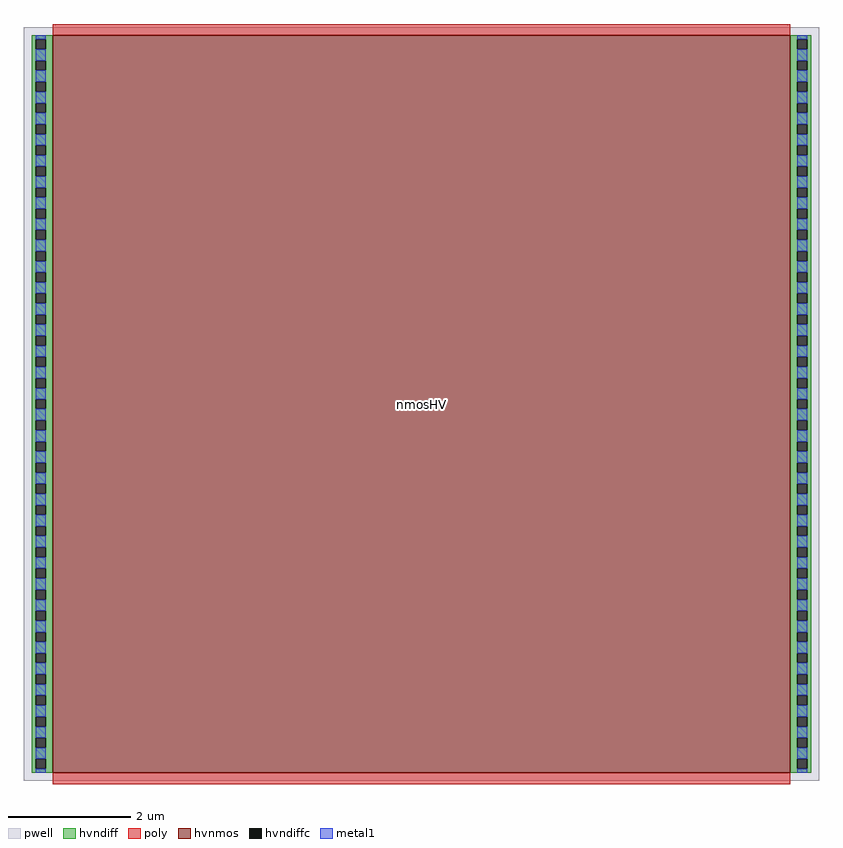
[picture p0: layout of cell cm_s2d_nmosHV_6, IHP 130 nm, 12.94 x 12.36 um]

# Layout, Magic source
magic
tech ihp-sg13cmos5l
magscale 1 2
<< pwell >>
rect -26 -26 2562 2426
<< hvnmos >>
rect 68 0 2468 2400
<< hvndiff >>
rect 0 2386 68 2400
rect 0 2354 14 2386
rect 46 2354 68 2386
rect 0 2317 68 2354
rect 0 2285 14 2317
rect 46 2285 68 2317
rect 0 2248 68 2285
rect 0 2216 14 2248
rect 46 2216 68 2248
rect 0 2179 68 2216
rect 0 2147 14 2179
rect 46 2147 68 2179
rect 0 2110 68 2147
rect 0 2078 14 2110
rect 46 2078 68 2110
rect 0 2041 68 2078
rect 0 2009 14 2041
rect 46 2009 68 2041
rect 0 1973 68 2009
rect 0 1941 14 1973
rect 46 1941 68 1973
rect 0 1904 68 1941
rect 0 1872 14 1904
rect 46 1872 68 1904
rect 0 1835 68 1872
rect 0 1803 14 1835
rect 46 1803 68 1835
rect 0 1766 68 1803
rect 0 1734 14 1766
rect 46 1734 68 1766
rect 0 1697 68 1734
rect 0 1665 14 1697
rect 46 1665 68 1697
rect 0 1628 68 1665
rect 0 1596 14 1628
rect 46 1596 68 1628
rect 0 1560 68 1596
rect 0 1528 14 1560
rect 46 1528 68 1560
rect 0 1491 68 1528
rect 0 1459 14 1491
rect 46 1459 68 1491
rect 0 1422 68 1459
rect 0 1390 14 1422
rect 46 1390 68 1422
rect 0 1353 68 1390
rect 0 1321 14 1353
rect 46 1321 68 1353
rect 0 1284 68 1321
rect 0 1252 14 1284
rect 46 1252 68 1284
rect 0 1216 68 1252
rect 0 1184 14 1216
rect 46 1184 68 1216
rect 0 1147 68 1184
rect 0 1115 14 1147
rect 46 1115 68 1147
rect 0 1078 68 1115
rect 0 1046 14 1078
rect 46 1046 68 1078
rect 0 1009 68 1046
rect 0 977 14 1009
rect 46 977 68 1009
rect 0 940 68 977
rect 0 908 14 940
rect 46 908 68 940
rect 0 871 68 908
rect 0 839 14 871
rect 46 839 68 871
rect 0 803 68 839
rect 0 771 14 803
rect 46 771 68 803
rect 0 734 68 771
rect 0 702 14 734
rect 46 702 68 734
rect 0 665 68 702
rect 0 633 14 665
rect 46 633 68 665
rect 0 596 68 633
rect 0 564 14 596
rect 46 564 68 596
rect 0 527 68 564
rect 0 495 14 527
rect 46 495 68 527
rect 0 458 68 495
rect 0 426 14 458
rect 46 426 68 458
rect 0 390 68 426
rect 0 358 14 390
rect 46 358 68 390
rect 0 321 68 358
rect 0 289 14 321
rect 46 289 68 321
rect 0 252 68 289
rect 0 220 14 252
rect 46 220 68 252
rect 0 183 68 220
rect 0 151 14 183
rect 46 151 68 183
rect 0 114 68 151
rect 0 82 14 114
rect 46 82 68 114
rect 0 46 68 82
rect 0 14 14 46
rect 46 14 68 46
rect 0 0 68 14
rect 2468 2386 2536 2400
rect 2468 2354 2490 2386
rect 2522 2354 2536 2386
rect 2468 2317 2536 2354
rect 2468 2285 2490 2317
rect 2522 2285 2536 2317
rect 2468 2248 2536 2285
rect 2468 2216 2490 2248
rect 2522 2216 2536 2248
rect 2468 2179 2536 2216
rect 2468 2147 2490 2179
rect 2522 2147 2536 2179
rect 2468 2110 2536 2147
rect 2468 2078 2490 2110
rect 2522 2078 2536 2110
rect 2468 2041 2536 2078
rect 2468 2009 2490 2041
rect 2522 2009 2536 2041
rect 2468 1973 2536 2009
rect 2468 1941 2490 1973
rect 2522 1941 2536 1973
rect 2468 1904 2536 1941
rect 2468 1872 2490 1904
rect 2522 1872 2536 1904
rect 2468 1835 2536 1872
rect 2468 1803 2490 1835
rect 2522 1803 2536 1835
rect 2468 1766 2536 1803
rect 2468 1734 2490 1766
rect 2522 1734 2536 1766
rect 2468 1697 2536 1734
rect 2468 1665 2490 1697
rect 2522 1665 2536 1697
rect 2468 1628 2536 1665
rect 2468 1596 2490 1628
rect 2522 1596 2536 1628
rect 2468 1560 2536 1596
rect 2468 1528 2490 1560
rect 2522 1528 2536 1560
rect 2468 1491 2536 1528
rect 2468 1459 2490 1491
rect 2522 1459 2536 1491
rect 2468 1422 2536 1459
rect 2468 1390 2490 1422
rect 2522 1390 2536 1422
rect 2468 1353 2536 1390
rect 2468 1321 2490 1353
rect 2522 1321 2536 1353
rect 2468 1284 2536 1321
rect 2468 1252 2490 1284
rect 2522 1252 2536 1284
rect 2468 1216 2536 1252
rect 2468 1184 2490 1216
rect 2522 1184 2536 1216
rect 2468 1147 2536 1184
rect 2468 1115 2490 1147
rect 2522 1115 2536 1147
rect 2468 1078 2536 1115
rect 2468 1046 2490 1078
rect 2522 1046 2536 1078
rect 2468 1009 2536 1046
rect 2468 977 2490 1009
rect 2522 977 2536 1009
rect 2468 940 2536 977
rect 2468 908 2490 940
rect 2522 908 2536 940
rect 2468 871 2536 908
rect 2468 839 2490 871
rect 2522 839 2536 871
rect 2468 803 2536 839
rect 2468 771 2490 803
rect 2522 771 2536 803
rect 2468 734 2536 771
rect 2468 702 2490 734
rect 2522 702 2536 734
rect 2468 665 2536 702
rect 2468 633 2490 665
rect 2522 633 2536 665
rect 2468 596 2536 633
rect 2468 564 2490 596
rect 2522 564 2536 596
rect 2468 527 2536 564
rect 2468 495 2490 527
rect 2522 495 2536 527
rect 2468 458 2536 495
rect 2468 426 2490 458
rect 2522 426 2536 458
rect 2468 390 2536 426
rect 2468 358 2490 390
rect 2522 358 2536 390
rect 2468 321 2536 358
rect 2468 289 2490 321
rect 2522 289 2536 321
rect 2468 252 2536 289
rect 2468 220 2490 252
rect 2522 220 2536 252
rect 2468 183 2536 220
rect 2468 151 2490 183
rect 2522 151 2536 183
rect 2468 114 2536 151
rect 2468 82 2490 114
rect 2522 82 2536 114
rect 2468 46 2536 82
rect 2468 14 2490 46
rect 2522 14 2536 46
rect 2468 0 2536 14
<< hvndiffc >>
rect 14 2354 46 2386
rect 14 2285 46 2317
rect 14 2216 46 2248
rect 14 2147 46 2179
rect 14 2078 46 2110
rect 14 2009 46 2041
rect 14 1941 46 1973
rect 14 1872 46 1904
rect 14 1803 46 1835
rect 14 1734 46 1766
rect 14 1665 46 1697
rect 14 1596 46 1628
rect 14 1528 46 1560
rect 14 1459 46 1491
rect 14 1390 46 1422
rect 14 1321 46 1353
rect 14 1252 46 1284
rect 14 1184 46 1216
rect 14 1115 46 1147
rect 14 1046 46 1078
rect 14 977 46 1009
rect 14 908 46 940
rect 14 839 46 871
rect 14 771 46 803
rect 14 702 46 734
rect 14 633 46 665
rect 14 564 46 596
rect 14 495 46 527
rect 14 426 46 458
rect 14 358 46 390
rect 14 289 46 321
rect 14 220 46 252
rect 14 151 46 183
rect 14 82 46 114
rect 14 14 46 46
rect 2490 2354 2522 2386
rect 2490 2285 2522 2317
rect 2490 2216 2522 2248
rect 2490 2147 2522 2179
rect 2490 2078 2522 2110
rect 2490 2009 2522 2041
rect 2490 1941 2522 1973
rect 2490 1872 2522 1904
rect 2490 1803 2522 1835
rect 2490 1734 2522 1766
rect 2490 1665 2522 1697
rect 2490 1596 2522 1628
rect 2490 1528 2522 1560
rect 2490 1459 2522 1491
rect 2490 1390 2522 1422
rect 2490 1321 2522 1353
rect 2490 1252 2522 1284
rect 2490 1184 2522 1216
rect 2490 1115 2522 1147
rect 2490 1046 2522 1078
rect 2490 977 2522 1009
rect 2490 908 2522 940
rect 2490 839 2522 871
rect 2490 771 2522 803
rect 2490 702 2522 734
rect 2490 633 2522 665
rect 2490 564 2522 596
rect 2490 495 2522 527
rect 2490 426 2522 458
rect 2490 358 2522 390
rect 2490 289 2522 321
rect 2490 220 2522 252
rect 2490 151 2522 183
rect 2490 82 2522 114
rect 2490 14 2522 46
<< poly >>
rect 68 2400 2468 2436
rect 68 -36 2468 0
<< metal1 >>
rect 14 2386 46 2400
rect 14 2317 46 2354
rect 14 2248 46 2285
rect 14 2179 46 2216
rect 14 2110 46 2147
rect 14 2041 46 2078
rect 14 1973 46 2009
rect 14 1904 46 1941
rect 14 1835 46 1872
rect 14 1766 46 1803
rect 14 1697 46 1734
rect 14 1628 46 1665
rect 14 1560 46 1596
rect 14 1491 46 1528
rect 14 1422 46 1459
rect 14 1353 46 1390
rect 14 1284 46 1321
rect 14 1216 46 1252
rect 14 1147 46 1184
rect 14 1078 46 1115
rect 14 1009 46 1046
rect 14 940 46 977
rect 14 871 46 908
rect 14 803 46 839
rect 14 734 46 771
rect 14 665 46 702
rect 14 596 46 633
rect 14 527 46 564
rect 14 458 46 495
rect 14 390 46 426
rect 14 321 46 358
rect 14 252 46 289
rect 14 183 46 220
rect 14 114 46 151
rect 14 46 46 82
rect 14 0 46 14
rect 2490 2386 2522 2400
rect 2490 2317 2522 2354
rect 2490 2248 2522 2285
rect 2490 2179 2522 2216
rect 2490 2110 2522 2147
rect 2490 2041 2522 2078
rect 2490 1973 2522 2009
rect 2490 1904 2522 1941
rect 2490 1835 2522 1872
rect 2490 1766 2522 1803
rect 2490 1697 2522 1734
rect 2490 1628 2522 1665
rect 2490 1560 2522 1596
rect 2490 1491 2522 1528
rect 2490 1422 2522 1459
rect 2490 1353 2522 1390
rect 2490 1284 2522 1321
rect 2490 1216 2522 1252
rect 2490 1147 2522 1184
rect 2490 1078 2522 1115
rect 2490 1009 2522 1046
rect 2490 940 2522 977
rect 2490 871 2522 908
rect 2490 803 2522 839
rect 2490 734 2522 771
rect 2490 665 2522 702
rect 2490 596 2522 633
rect 2490 527 2522 564
rect 2490 458 2522 495
rect 2490 390 2522 426
rect 2490 321 2522 358
rect 2490 252 2522 289
rect 2490 183 2522 220
rect 2490 114 2522 151
rect 2490 46 2522 82
rect 2490 0 2522 14
<< labels >>
flabel comment s 1268 1200 1268 1200 0 FreeSans 200 90 0 0 nmosHV
<< properties >>
string GDS_END 24548
string GDS_FILE custom_io/gds/sg13cmos5l_IOPadSingle2Diff.uniq.gds
string GDS_START 19216
<< end >>
